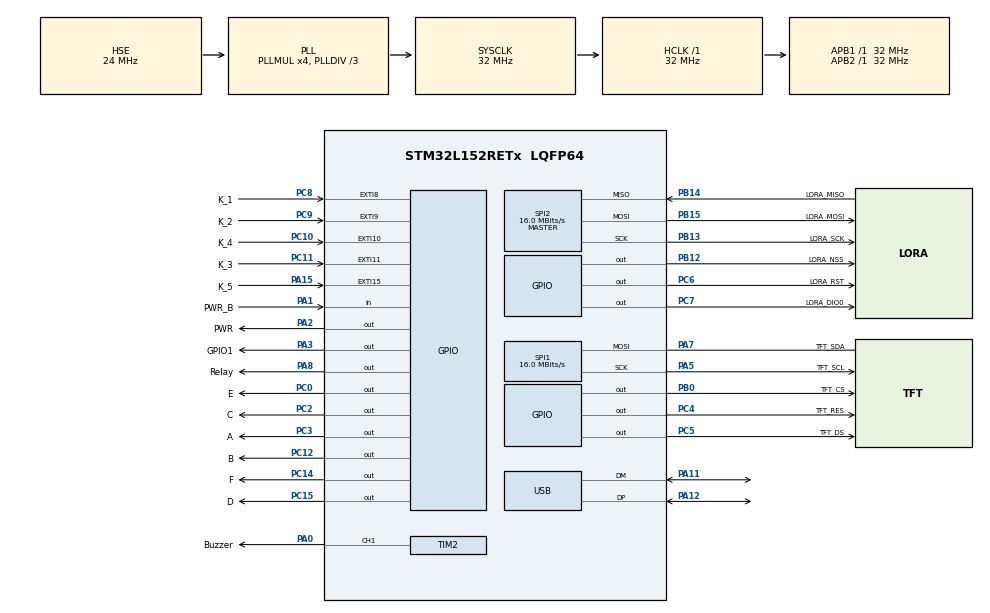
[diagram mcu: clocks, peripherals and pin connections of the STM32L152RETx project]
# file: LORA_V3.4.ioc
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Mcu.Family=STM32L1
Dma.SPI1_TX.0.MemInc=DMA_MINC_ENABLE
USB_DEVICE.CLASS_NAME_FS=HID
PH0-OSC_IN.Signal=RCC_OSC_IN
VP_SYS_VS_tim6.Mode=TIM6
Dma.SPI1_TX.0.PeriphInc=DMA_PINC_DISABLE
FREERTOS.BinarySemaphores01=KeyboardBinSem,Dynamic,NULL
PC10.GPIO_PuPd=GPIO_PULLUP
SPI1.VirtualType=VM_MASTER
SPI2.VirtualType=VM_MASTER
PC10.Signal=GPXTI10
PC12.Signal=GPIO_Output
PB14.GPIO_Label=LORA_MISO
PC0.GPIO_Label=E
PC6.GPIO_Label=LORA_RST
PA11.Mode=Device
PC0.GPIO_ModeDefaultOutputPP=GPIO_MODE_OUTPUT_OD
PB0.GPIO_Label=TFT_CS
PB13.GPIO_Label=LORA_SCK
PA3.GPIO_Speed=GPIO_SPEED_FREQ_VERY_HIGH
PB13.Signal=SPI2_SCK
PB15.Signal=SPI2_MOSI
PC15-OSC32_OUT.GPIO_Label=D
RCC.SYSCLKSource=RCC_SYSCLKSOURCE_PLLCLK
ProjectManager.StackSize=0x400
VP_FREERTOS_VS_CMSIS_V2.Mode=CMSIS_V2
PA15.GPIO_Label=K_5
PC11.GPIO_PuPd=GPIO_PULLUP
PA12.Signal=USB_DP
RCC.PLLDIV=RCC_PLL_DIV3
PB0.PinState=GPIO_PIN_SET
PA15.GPIO_ModeDefaultEXTI=GPIO_MODE_IT_FALLING
SPI1.Direction=SPI_DIRECTION_1LINE
USB_DEVICE.USBD_MAX_NUM_INTERFACES=255
RCC.HCLKFreq_Value=32000000
RCC.APB2TimFreq_Value=32000000
PC7.Signal=GPIO_Output
SPI1.CalculateBaudRate=16.0 MBits/s
PC3.Signal=GPIO_Output
PA1.GPIO_PuPd=GPIO_PULLUP
RCC.AHBFreq_Value=32000000
SPI2.BaudRatePrescaler=SPI_BAUDRATEPRESCALER_2
PH0-OSC_IN.Mode=HSE-External-Oscillator
NVIC.EXTI15_10_IRQn=true\:5\:0\:true\:false\:true\:true\:true\:true
RCC.HSE_VALUE=24000000
RCC.PLLMUL=RCC_PLL_MUL4
PB12.GPIO_Label=LORA_NSS
PC10.GPIO_ModeDefaultEXTI=GPIO_MODE_IT_FALLING
PC4.GPIO_Speed=GPIO_SPEED_FREQ_VERY_HIGH
USB_DEVICE.USBD_SELF_POWERED=0
PC4.GPIO_Label=TFT_RES
PA14.Mode=Serial_Wire
PB14.Mode=Full_Duplex_Master
PC11.GPIO_Label=K_3
NVIC.TIM2_IRQn=true\:5\:0\:false\:false\:true\:true\:true\:true
SPI2.CalculateBaudRate=16.0 MBits/s
PA8.Signal=GPIO_Output
TIM2.Channel-PWM\ Generation1\ CH1=TIM_CHANNEL_1
PH1-OSC_OUT.Mode=HSE-External-Oscillator
Dma.SPI1_TX.0.Mode=DMA_CIRCULAR
Mcu.Package=LQFP64
TIM2.Prescaler=9
NVIC.TimeBase=TIM6_IRQn
SPI2.Mode=SPI_MODE_MASTER
PA2.GPIO_Label=PWR
NVIC.TimeBaseIP=TIM6
PA15.Signal=GPXTI15
NVIC.USB_LP_IRQn=true\:5\:0\:false\:false\:true\:true\:false\:true
TIM2.TIM_MasterOutputTrigger=TIM_TRGO_RESET
PC15-OSC32_OUT.GPIO_ModeDefaultOutputPP=GPIO_MODE_OUTPUT_OD
PC2.GPIO_ModeDefaultOutputPP=GPIO_MODE_OUTPUT_OD
PC14-OSC32_IN.GPIO_ModeDefaultOutputPP=GPIO_MODE_OUTPUT_OD
RCC.APB1TimFreq_Value=32000000
PC14-OSC32_IN.GPIO_Label=F
SPI2.Direction=SPI_DIRECTION_2LINES
PC5.Signal=GPIO_Output
PB13.Mode=Full_Duplex_Master
PC12.GPIO_PuPd=GPIO_PULLUP
PC0.GPIO_PuPd=GPIO_PULLUP
Dma.Request0=SPI1_TX
SPI1.BaudRatePrescaler=SPI_BAUDRATEPRESCALER_2
PC2.GPIO_Label=C
PA8.GPIO_Speed=GPIO_SPEED_FREQ_LOW
PC9.GPIO_ModeDefaultEXTI=GPIO_MODE_IT_FALLING
PA3.Signal=GPIO_Output
PA5.Mode=Simplex_Bidirectional_Master
RCC.MSI_VALUE=2097000
FREERTOS.Tasks01=defaultTask,24,128,StartDefaultTask,Default,NULL,Dynamic,NULL,NULL;Relay,8,128,RelayTask,Default,NULL,Static,RelayBuffer,RelayControlBlock;DisplayTask,8,400,DisplayTaskFunc,Default,NULL,Static,DisplayTaskBuffer,DisplayTaskControlBlock;BeeperTask,8,128,BeeperTaskFunc,Default,NULL,Static,BeeperTaskBuffer,BeeperTaskControlBlock;KeyboardTask,24,128,KeyboardTaskFunc,Default,NULL,Static,KeyboardTaskBuffer,KeyboardTaskControlBlock
PA7.Mode=Simplex_Bidirectional_Master
PC10.GPIO_Label=K_4
PC9.GPIO_Label=K_2
USB_DEVICE.VirtualModeFS=Hid_FS
PC11.Signal=GPXTI11
PC8.Signal=GPXTI8
PC2.Signal=GPIO_Output
PC4.Signal=GPIO_Output
PC6.Signal=GPIO_Output
PC12.GPIO_ModeDefaultOutputPP=GPIO_MODE_OUTPUT_OD
PC0.Signal=GPIO_Output
PC14-OSC32_IN.Signal=GPIO_Output
TIM2.Pulse-PWM\ Generation1\ CH1=0
NVIC.TIM6_IRQn=true\:0\:0\:false\:false\:true\:false\:true\:true
PB0.GPIO_Speed=GPIO_SPEED_FREQ_VERY_HIGH
PC8.GPIO_Label=K_1
PA13.Signal=SYS_JTMS-SWDIO
PA8.GPIO_Label=Relay
ProjectManager.TargetToolchain=STM32CubeIDE
Dma.SPI1_TX.0.PeriphDataAlignment=DMA_PDATAALIGN_BYTE
Dma.SPI1_TX.0.Direction=DMA_MEMORY_TO_PERIPH
PA0-WKUP1.Signal=S_TIM2_CH1_ETR
RCC.LSE_VALUE=32768
PC15-OSC32_OUT.Signal=GPIO_Output
PA1.Signal=GPIO_Input
PB14.Signal=SPI2_MISO
PA5.Signal=SPI1_SCK
board=custom
RCC.VCOOutputFreq_Value=96000000
PB15.Mode=Full_Duplex_Master
VP_USB_DEVICE_VS_USB_DEVICE_HID_FS.Mode=HID_FS
RCC.APB2Freq_Value=32000000
PC11.GPIO_ModeDefaultEXTI=GPIO_MODE_IT_FALLING
PB15.GPIO_Label=LORA_MOSI
VP_TIM2_VS_ClockSourceINT.Mode=Internal
SPI1.Mode=SPI_MODE_MASTER
PA1.GPIO_Label=PWR_B
PC9.GPIO_PuPd=GPIO_PULLUP
PH1-OSC_OUT.Signal=RCC_OSC_OUT
Dma.SPI1_TX.0.Instance=DMA1_Channel3
PC15-OSC32_OUT.GPIO_PuPd=GPIO_PULLUP
PC2.GPIO_PuPd=GPIO_PULLUP
TIM2.Period=19
PA13.Mode=Serial_Wire
Mcu.Name=STM32L152RETx
PA2.Signal=GPIO_Output
PC7.GPIO_Label=LORA_DIO0
RCC.48MHZClocksFreq_Value=48000000
PC8.GPIO_PuPd=GPIO_PULLUP
RCC.SYSCLKFreq_VALUE=32000000
PA7.GPIO_Label=TFT_SDA
PA12.Mode=Device
PA5.GPIO_Label=TFT_SCL
PC5.GPIO_Label=TFT_DS
PC12.GPIO_Label=B
PA11.Signal=USB_DM
SH.S_TIM2_CH1_ETR.0=TIM2_CH1,PWM Generation1 CH1
NVIC.EXTI9_5_IRQn=true\:5\:0\:true\:false\:true\:false\:true\:true
PA14.Signal=SYS_JTCK-SWCLK
PA0-WKUP1.GPIO_Label=Buzzer
ProjectManager.HeapSize=0x200
Dma.SPI1_TX.0.MemDataAlignment=DMA_MDATAALIGN_BYTE
Dma.SPI1_TX.0.Priority=DMA_PRIORITY_LOW
USB_DEVICE.USBD_MAX_NUM_CONFIGURATION=255
RCC.HSI_VALUE=16000000
NVIC.PriorityGroup=NVIC_PRIORITYGROUP_4
PC5.GPIO_Speed=GPIO_SPEED_FREQ_VERY_HIGH
PC8.GPIO_ModeDefaultEXTI=GPIO_MODE_IT_FALLING
PA15.GPIO_PuPd=GPIO_PULLUP
TIM2.AutoReloadPreload=TIM_AUTORELOAD_PRELOAD_DISABLE
PC3.GPIO_Label=A
PA3.PinState=GPIO_PIN_SET
PC14-OSC32_IN.GPIO_PuPd=GPIO_PULLUP
PC9.Signal=GPXTI9
PC3.GPIO_ModeDefaultOutputPP=GPIO_MODE_OUTPUT_OD
RCC.APB1Freq_Value=32000000
PB0.Signal=GPIO_Output
USB_DEVICE.VirtualMode=Hid
USB_DEVICE.USBD_MAX_STR_DESC_SIZ=1024
PB12.Signal=GPIO_Output
PC3.GPIO_PuPd=GPIO_PULLUP
PA3.GPIO_Label=GPIO1
PA7.Signal=SPI1_MOSI

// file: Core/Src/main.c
/* USER CODE BEGIN Header */
/**
  ******************************************************************************
  * @file           : main.c
  * @brief          : Main program body
  ******************************************************************************
  * @attention
  *
  * <h2><center>&copy; Copyright (c) 2021 STMicroelectronics.
  * All rights reserved.</center></h2>
  *
  * This software component is licensed by ST under BSD 3-Clause license,
  * the "License"; You may not use this file except in compliance with the
  * License. You may obtain a copy of the License at:
  *                        opensource.org/licenses/BSD-3-Clause
  *
  ******************************************************************************
  */
/* USER CODE END Header */
#include "main.h"
#include "cmsis_os.h"
#include "usb_device.h"

/* USER CODE BEGIN Includes */
#include "testimg.h"
/* USER CODE END Includes */

typedef StaticTask_t osStaticThreadDef_t;

SPI_HandleTypeDef hspi1;
SPI_HandleTypeDef hspi2;
DMA_HandleTypeDef hdma_spi1_tx;

TIM_HandleTypeDef htim2;

/* Definitions for defaultTask */
osThreadId_t defaultTaskHandle;
const osThreadAttr_t defaultTask_attributes = {
  .name = "defaultTask",
  .stack_size = 128 * 4,
  .priority = (osPriority_t) osPriorityNormal,
};
/* Definitions for Relay */
osThreadId_t RelayHandle;
uint32_t RelayBuffer[ 128 ];
osStaticThreadDef_t RelayControlBlock;
const osThreadAttr_t Relay_attributes = {
  .name = "Relay",
  .cb_mem = &RelayControlBlock,
  .cb_size = sizeof(RelayControlBlock),
  .stack_mem = &RelayBuffer[0],
  .stack_size = sizeof(RelayBuffer),
  .priority = (osPriority_t) osPriorityLow,
};
/* Definitions for DisplayTask */
osThreadId_t DisplayTaskHandle;
uint32_t DisplayTaskBuffer[ 400 ];
osStaticThreadDef_t DisplayTaskControlBlock;
const osThreadAttr_t DisplayTask_attributes = {
  .name = "DisplayTask",
  .cb_mem = &DisplayTaskControlBlock,
  .cb_size = sizeof(DisplayTaskControlBlock),
  .stack_mem = &DisplayTaskBuffer[0],
  .stack_size = sizeof(DisplayTaskBuffer),
  .priority = (osPriority_t) osPriorityLow,
};
/* Definitions for BeeperTask */
osThreadId_t BeeperTaskHandle;
uint32_t BeeperTaskBuffer[ 128 ];
osStaticThreadDef_t BeeperTaskControlBlock;
const osThreadAttr_t BeeperTask_attributes = {
  .name = "BeeperTask",
  .cb_mem = &BeeperTaskControlBlock,
  .cb_size = sizeof(BeeperTaskControlBlock),
  .stack_mem = &BeeperTaskBuffer[0],
  .stack_size = sizeof(BeeperTaskBuffer),
  .priority = (osPriority_t) osPriorityLow,
};
/* Definitions for KeyboardTask */
osThreadId_t KeyboardTaskHandle;
uint32_t KeyboardTaskBuffer[ 128 ];
osStaticThreadDef_t KeyboardTaskControlBlock;
const osThreadAttr_t KeyboardTask_attributes = {
  .name = "KeyboardTask",
  .cb_mem = &KeyboardTaskControlBlock,
  .cb_size = sizeof(KeyboardTaskControlBlock),
  .stack_mem = &KeyboardTaskBuffer[0],
  .stack_size = sizeof(KeyboardTaskBuffer),
  .priority = (osPriority_t) osPriorityNormal,
};
/* Definitions for KeyboardBinSem */
osSemaphoreId_t KeyboardBinSemHandle;
const osSemaphoreAttr_t KeyboardBinSem_attributes = {
  .name = "KeyboardBinSem"
};
/* USER CODE BEGIN PV */
osMessageQueueId_t BEEPER_MsgQueue;
osMessageQueueId_t TEXT_MsgQueue;
#define TEXT_QUEUE_LENGTH 50
/* USER CODE END PV */

void SystemClock_Config(void);
static void MX_GPIO_Init(void);
static void MX_DMA_Init(void);
static void MX_SPI1_Init(void);
static void MX_SPI2_Init(void);
static void MX_TIM2_Init(void);
void StartDefaultTask(void *argument);
void RelayTask(void *argument);
void DisplayTaskFunc(void *argument);
void BeeperTaskFunc(void *argument);
void KeyboardTaskFunc(void *argument);

int main(void)
{

  /* MCU Configuration--------------------------------------------------------*/

  /* Reset of all peripherals, Initializes the Flash interface and the Systick. */
  HAL_Init();

  /* Configure the system clock */
  SystemClock_Config();

  /* Initialize all configured peripherals */
  MX_GPIO_Init();
  MX_DMA_Init();
  MX_SPI1_Init();
  MX_SPI2_Init();
  MX_TIM2_Init();
  /* USER CODE BEGIN 2 */
  HAL_GPIO_WritePin(PWR_GPIO_Port, PWR_Pin, GPIO_PIN_SET);
  ST7735_Init();
  ST7735_Start(0, 0, ST7735_WIDTH - 1, ST7735_HEIGHT - 1);
  ST7735_FillScreen(ST7735_YELLOW);

  //ST7735_InvertColors(1);
  //ST7735_DrawImage(0, 0, ST7735_WIDTH, ST7735_HEIGHT, test_img_160x128_radio);
  /* USER CODE END 2 */

  /* Init scheduler */
  osKernelInitialize();

  /* Create the semaphores(s) */
  /* creation of KeyboardBinSem */
  KeyboardBinSemHandle = osSemaphoreNew(1, 1, &KeyboardBinSem_attributes);

  /* USER CODE BEGIN RTOS_QUEUES */
  /* add queues, ... */
  BEEPER_MsgQueue = osMessageQueueNew(BUZZER_QUEUE_LEN, sizeof(BEPPER_Parameters_t), NULL);
  TEXT_MsgQueue = osMessageQueueNew(TEXT_QUEUE_LENGTH, sizeof(char), NULL);
  /* USER CODE END RTOS_QUEUES */

  /* Create the thread(s) */
  /* creation of defaultTask */
  defaultTaskHandle = osThreadNew(StartDefaultTask, NULL, &defaultTask_attributes);

  /* creation of Relay */
  RelayHandle = osThreadNew(RelayTask, NULL, &Relay_attributes);

  /* creation of DisplayTask */
  DisplayTaskHandle = osThreadNew(DisplayTaskFunc, NULL, &DisplayTask_attributes);

  /* creation of BeeperTask */
  BeeperTaskHandle = osThreadNew(BeeperTaskFunc, NULL, &BeeperTask_attributes);

  /* creation of KeyboardTask */
  KeyboardTaskHandle = osThreadNew(KeyboardTaskFunc, NULL, &KeyboardTask_attributes);

  /* Start scheduler */
  osKernelStart();

  /* We should never get here as control is now taken by the scheduler */
  /* Infinite loop */
  while (1)
  {

  }
}

void SystemClock_Config(void)
{
  RCC_OscInitTypeDef RCC_OscInitStruct = {0};
  RCC_ClkInitTypeDef RCC_ClkInitStruct = {0};

  /** Configure the main internal regulator output voltage
  */
  __HAL_PWR_VOLTAGESCALING_CONFIG(PWR_REGULATOR_VOLTAGE_SCALE1);
  /** Initializes the RCC Oscillators according to the specified parameters
  * in the RCC_OscInitTypeDef structure.
  */
  RCC_OscInitStruct.OscillatorType = RCC_OSCILLATORTYPE_HSE;
  RCC_OscInitStruct.HSEState = RCC_HSE_ON;
  RCC_OscInitStruct.PLL.PLLState = RCC_PLL_ON;
  RCC_OscInitStruct.PLL.PLLSource = RCC_PLLSOURCE_HSE;
  RCC_OscInitStruct.PLL.PLLMUL = RCC_PLL_MUL4;
  RCC_OscInitStruct.PLL.PLLDIV = RCC_PLL_DIV3;
  if (HAL_RCC_OscConfig(&RCC_OscInitStruct) != HAL_OK)
  {
    Error_Handler();
  }
  /** Initializes the CPU, AHB and APB buses clocks
  */
  RCC_ClkInitStruct.ClockType = RCC_CLOCKTYPE_HCLK|RCC_CLOCKTYPE_SYSCLK
                              |RCC_CLOCKTYPE_PCLK1|RCC_CLOCKTYPE_PCLK2;
  RCC_ClkInitStruct.SYSCLKSource = RCC_SYSCLKSOURCE_PLLCLK;
  RCC_ClkInitStruct.AHBCLKDivider = RCC_SYSCLK_DIV1;
  RCC_ClkInitStruct.APB1CLKDivider = RCC_HCLK_DIV1;
  RCC_ClkInitStruct.APB2CLKDivider = RCC_HCLK_DIV1;

  if (HAL_RCC_ClockConfig(&RCC_ClkInitStruct, FLASH_LATENCY_1) != HAL_OK)
  {
    Error_Handler();
  }
}

static void MX_SPI1_Init(void)
{

  /* SPI1 parameter configuration*/
  hspi1.Instance = SPI1;
  hspi1.Init.Mode = SPI_MODE_MASTER;
  hspi1.Init.Direction = SPI_DIRECTION_1LINE;
  hspi1.Init.DataSize = SPI_DATASIZE_8BIT;
  hspi1.Init.CLKPolarity = SPI_POLARITY_LOW;
  hspi1.Init.CLKPhase = SPI_PHASE_1EDGE;
  hspi1.Init.NSS = SPI_NSS_SOFT;
  hspi1.Init.BaudRatePrescaler = SPI_BAUDRATEPRESCALER_2;
  hspi1.Init.FirstBit = SPI_FIRSTBIT_MSB;
  hspi1.Init.TIMode = SPI_TIMODE_DISABLE;
  hspi1.Init.CRCCalculation = SPI_CRCCALCULATION_DISABLE;
  hspi1.Init.CRCPolynomial = 10;
  if (HAL_SPI_Init(&hspi1) != HAL_OK)
  {
    Error_Handler();
  }
  /* USER CODE BEGIN SPI1_Init 2 */
  //SPI1->CR2 |= 1<<SPI_CR2_TXDMAEN_Pos;
  /* USER CODE END SPI1_Init 2 */

}

static void MX_SPI2_Init(void)
{

  /* SPI2 parameter configuration*/
  hspi2.Instance = SPI2;
  hspi2.Init.Mode = SPI_MODE_MASTER;
  hspi2.Init.Direction = SPI_DIRECTION_2LINES;
  hspi2.Init.DataSize = SPI_DATASIZE_8BIT;
  hspi2.Init.CLKPolarity = SPI_POLARITY_LOW;
  hspi2.Init.CLKPhase = SPI_PHASE_1EDGE;
  hspi2.Init.NSS = SPI_NSS_SOFT;
  hspi2.Init.BaudRatePrescaler = SPI_BAUDRATEPRESCALER_2;
  hspi2.Init.FirstBit = SPI_FIRSTBIT_MSB;
  hspi2.Init.TIMode = SPI_TIMODE_DISABLE;
  hspi2.Init.CRCCalculation = SPI_CRCCALCULATION_DISABLE;
  hspi2.Init.CRCPolynomial = 10;
  if (HAL_SPI_Init(&hspi2) != HAL_OK)
  {
    Error_Handler();
  }

}

static void MX_TIM2_Init(void)
{

  TIM_ClockConfigTypeDef sClockSourceConfig = {0};
  TIM_MasterConfigTypeDef sMasterConfig = {0};
  TIM_OC_InitTypeDef sConfigOC = {0};

  htim2.Instance = TIM2;
  htim2.Init.Prescaler = 9;
  htim2.Init.CounterMode = TIM_COUNTERMODE_UP;
  htim2.Init.Period = 19;
  htim2.Init.ClockDivision = TIM_CLOCKDIVISION_DIV1;
  htim2.Init.AutoReloadPreload = TIM_AUTORELOAD_PRELOAD_DISABLE;
  if (HAL_TIM_Base_Init(&htim2) != HAL_OK)
  {
    Error_Handler();
  }
  sClockSourceConfig.ClockSource = TIM_CLOCKSOURCE_INTERNAL;
  if (HAL_TIM_ConfigClockSource(&htim2, &sClockSourceConfig) != HAL_OK)
  {
    Error_Handler();
  }
  if (HAL_TIM_PWM_Init(&htim2) != HAL_OK)
  {
    Error_Handler();
  }
  sMasterConfig.MasterOutputTrigger = TIM_TRGO_RESET;
  sMasterConfig.MasterSlaveMode = TIM_MASTERSLAVEMODE_DISABLE;
  if (HAL_TIMEx_MasterConfigSynchronization(&htim2, &sMasterConfig) != HAL_OK)
  {
    Error_Handler();
  }
  sConfigOC.OCMode = TIM_OCMODE_PWM1;
  sConfigOC.Pulse = 0;
  sConfigOC.OCPolarity = TIM_OCPOLARITY_HIGH;
  sConfigOC.OCFastMode = TIM_OCFAST_DISABLE;
  if (HAL_TIM_PWM_ConfigChannel(&htim2, &sConfigOC, TIM_CHANNEL_1) != HAL_OK)
  {
    Error_Handler();
  }
  HAL_TIM_MspPostInit(&htim2);

}

static void MX_DMA_Init(void)
{

  /* DMA controller clock enable */
  __HAL_RCC_DMA1_CLK_ENABLE();

}

static void MX_GPIO_Init(void)
{
  GPIO_InitTypeDef GPIO_InitStruct = {0};

  /* GPIO Ports Clock Enable */
  __HAL_RCC_GPIOC_CLK_ENABLE();
  __HAL_RCC_GPIOH_CLK_ENABLE();
  __HAL_RCC_GPIOA_CLK_ENABLE();
  __HAL_RCC_GPIOB_CLK_ENABLE();

  /*Configure GPIO pin Output Level */
  HAL_GPIO_WritePin(GPIOC, F_Pin|D_Pin|E_Pin|C_Pin
                          |A_Pin|TFT_RES_Pin|TFT_DS_Pin|LORA_RST_Pin
                          |LORA_DIO0_Pin|B_Pin, GPIO_PIN_RESET);

  /*Configure GPIO pin Output Level */
  HAL_GPIO_WritePin(GPIOA, PWR_Pin|Relay_Pin, GPIO_PIN_RESET);

  /*Configure GPIO pin Output Level */
  HAL_GPIO_WritePin(GPIO1_GPIO_Port, GPIO1_Pin, GPIO_PIN_SET);

  /*Configure GPIO pin Output Level */
  HAL_GPIO_WritePin(TFT_CS_GPIO_Port, TFT_CS_Pin, GPIO_PIN_SET);

  /*Configure GPIO pin Output Level */
  HAL_GPIO_WritePin(LORA_NSS_GPIO_Port, LORA_NSS_Pin, GPIO_PIN_RESET);

  /*Configure GPIO pins : F_Pin D_Pin E_Pin C_Pin
                           A_Pin B_Pin */
  GPIO_InitStruct.Pin = F_Pin|D_Pin|E_Pin|C_Pin
                          |A_Pin|B_Pin;
  GPIO_InitStruct.Mode = GPIO_MODE_OUTPUT_OD;
  GPIO_InitStruct.Pull = GPIO_PULLUP;
  GPIO_InitStruct.Speed = GPIO_SPEED_FREQ_LOW;
  HAL_GPIO_Init(GPIOC, &GPIO_InitStruct);

  /*Configure GPIO pin : PWR_B_Pin */
  GPIO_InitStruct.Pin = PWR_B_Pin;
  GPIO_InitStruct.Mode = GPIO_MODE_INPUT;
  GPIO_InitStruct.Pull = GPIO_PULLUP;
  HAL_GPIO_Init(PWR_B_GPIO_Port, &GPIO_InitStruct);

  /*Configure GPIO pins : PWR_Pin Relay_Pin */
  GPIO_InitStruct.Pin = PWR_Pin|Relay_Pin;
  GPIO_InitStruct.Mode = GPIO_MODE_OUTPUT_PP;
  GPIO_InitStruct.Pull = GPIO_NOPULL;
  GPIO_InitStruct.Speed = GPIO_SPEED_FREQ_LOW;
  HAL_GPIO_Init(GPIOA, &GPIO_InitStruct);

  /*Configure GPIO pin : GPIO1_Pin */
  GPIO_InitStruct.Pin = GPIO1_Pin;
  GPIO_InitStruct.Mode = GPIO_MODE_OUTPUT_PP;
  GPIO_InitStruct.Pull = GPIO_NOPULL;
  GPIO_InitStruct.Speed = GPIO_SPEED_FREQ_VERY_HIGH;
  HAL_GPIO_Init(GPIO1_GPIO_Port, &GPIO_InitStruct);

  /*Configure GPIO pins : TFT_RES_Pin TFT_DS_Pin */
  GPIO_InitStruct.Pin = TFT_RES_Pin|TFT_DS_Pin;
  GPIO_InitStruct.Mode = GPIO_MODE_OUTPUT_PP;
  GPIO_InitStruct.Pull = GPIO_NOPULL;
  GPIO_InitStruct.Speed = GPIO_SPEED_FREQ_VERY_HIGH;
  HAL_GPIO_Init(GPIOC, &GPIO_InitStruct);

  /*Configure GPIO pin : TFT_CS_Pin */
  GPIO_InitStruct.Pin = TFT_CS_Pin;
  GPIO_InitStruct.Mode = GPIO_MODE_OUTPUT_PP;
  GPIO_InitStruct.Pull = GPIO_NOPULL;
  GPIO_InitStruct.Speed = GPIO_SPEED_FREQ_VERY_HIGH;
  HAL_GPIO_Init(TFT_CS_GPIO_Port, &GPIO_InitStruct);

  /*Configure GPIO pin : LORA_NSS_Pin */
  GPIO_InitStruct.Pin = LORA_NSS_Pin;
  GPIO_InitStruct.Mode = GPIO_MODE_OUTPUT_PP;
  GPIO_InitStruct.Pull = GPIO_NOPULL;
  GPIO_InitStruct.Speed = GPIO_SPEED_FREQ_LOW;
  HAL_GPIO_Init(LORA_NSS_GPIO_Port, &GPIO_InitStruct);

  /*Configure GPIO pins : LORA_RST_Pin LORA_DIO0_Pin */
  GPIO_InitStruct.Pin = LORA_RST_Pin|LORA_DIO0_Pin;
  GPIO_InitStruct.Mode = GPIO_MODE_OUTPUT_PP;
  GPIO_InitStruct.Pull = GPIO_NOPULL;
  GPIO_InitStruct.Speed = GPIO_SPEED_FREQ_LOW;
  HAL_GPIO_Init(GPIOC, &GPIO_InitStruct);

  /*Configure GPIO pins : K_1_Pin K_2_Pin K_4_Pin K_3_Pin */
  GPIO_InitStruct.Pin = K_1_Pin|K_2_Pin|K_4_Pin|K_3_Pin;
  GPIO_InitStruct.Mode = GPIO_MODE_IT_FALLING;
  GPIO_InitStruct.Pull = GPIO_PULLUP;
  HAL_GPIO_Init(GPIOC, &GPIO_InitStruct);

  /*Configure GPIO pin : K_5_Pin */
  GPIO_InitStruct.Pin = K_5_Pin;
  GPIO_InitStruct.Mode = GPIO_MODE_IT_FALLING;
  GPIO_InitStruct.Pull = GPIO_PULLUP;
  HAL_GPIO_Init(K_5_GPIO_Port, &GPIO_InitStruct);

  /* EXTI interrupt init*/

}

/* USER CODE BEGIN 4 */
void HAL_GPIO_EXTI_Callback(uint16_t GPIO_Pin) {
	osSemaphoreRelease(KeyboardBinSemHandle);
    HAL_NVIC_DisableIRQ(EXTI9_5_IRQn);
    HAL_NVIC_DisableIRQ(EXTI15_10_IRQn);
    //__HAL_GPIO_EXTI_CLEAR_IT(GPIO_Pin);
}
/* USER CODE END 4 */

void StartDefaultTask(void *argument)
{
  /* init code for USB_DEVICE */
  MX_USB_DEVICE_Init();
  /* USER CODE BEGIN 5 */
  BEPPER_Parameters_t msg;

  //keyboard_INIT();
  HAL_NVIC_SetPriority(EXTI9_5_IRQn, 5, 0);
  HAL_NVIC_EnableIRQ(EXTI9_5_IRQn);

  HAL_NVIC_SetPriority(EXTI15_10_IRQn, 5, 0);
  HAL_NVIC_EnableIRQ(EXTI15_10_IRQn);
  ST7735_FillScreen(ST7735_YELLOW);

  BEEPER_Enable();
  /* Infinite loop */
  for(;;)
  {

	osDelay(100);
  }
  /* USER CODE END 5 */
}

void RelayTask(void *argument)
{
  /* USER CODE BEGIN RelayTask */
  /* Infinite loop */
  for(;;)
  {
	//HAL_GPIO_TogglePin(Relay_GPIO_Port, Relay_Pin);
    osDelay(500);
  }
  /* USER CODE END RelayTask */
}

void DisplayTaskFunc(void *argument)
{
  /* USER CODE BEGIN DisplayTaskFunc */
	char buf[100];
	char msg;
	static uint32_t buf_end = 0;
	osStatus_t status;
  /* Infinite loop */
  for(;;)
  {
	status = osMessageQueueGet(TEXT_MsgQueue, &msg, NULL, portMAX_DELAY);
	  if (status == osOK) {
		if (buf_end == 20) {
			buf_end = 0;
			for (size_t i = 0; i < 100; i++) buf[i] = 0;
		}
		if (msg == 0xFF) {
			buf[buf_end - 1] = 0;
			if (buf_end)
				buf_end--;
		}
		else {
			buf[buf_end] = msg;
			buf_end++;
		}
		ST7735_FillScreen(ST7735_YELLOW);
		ST7735_WriteString(0, 0, buf, Font_11x18, ST7735_BLACK, ST7735_WHITE);
	  }
  }
  /* USER CODE END DisplayTaskFunc */
}

void BeeperTaskFunc(void *argument)
{
  /* USER CODE BEGIN BeeperTaskFunc */
	BEPPER_Parameters_t msg;
	osStatus_t status;
  /* Infinite loop */
  for(;;)
  {
    status = osMessageQueueGet(BEEPER_MsgQueue, &msg, NULL, portMAX_DELAY);
    if (status == osOK) {
    	BEEPER_SetFreq(msg.freq);
    	BEEPER_SetVolume(msg.volume);
		osDelay(msg.duration);
		BEEPER_SetVolume(BUZZER_VOLUME_MUTE);
    }
  }
  /* USER CODE END BeeperTaskFunc */
}

void KeyboardTaskFunc(void *argument)
{
  /* USER CODE BEGIN KeyboardTaskFunc */
  BEPPER_Parameters_t msg;
  char msg_text;
  static _Bool isShifted = 1;

  /* Infinite loop */
  for(;;)
  {
    osSemaphoreAcquire(KeyboardBinSemHandle, portMAX_DELAY);
    osDelay(30);
    msg_text = 0;
    //A
	HAL_GPIO_WritePin(A_GPIO_Port, A_Pin, GPIO_PIN_RESET);
	HAL_GPIO_WritePin(B_GPIO_Port, B_Pin, GPIO_PIN_SET);
	HAL_GPIO_WritePin(C_GPIO_Port, C_Pin, GPIO_PIN_SET);
	HAL_GPIO_WritePin(D_GPIO_Port, D_Pin, GPIO_PIN_SET);
	HAL_GPIO_WritePin(E_GPIO_Port, E_Pin, GPIO_PIN_SET);
	HAL_GPIO_WritePin(F_GPIO_Port, F_Pin, GPIO_PIN_SET);
	if (!HAL_GPIO_ReadPin(K_1_GPIO_Port, K_1_Pin)) {
		if (isShifted)
			msg_text = 'Q';
		else
			msg_text = '1';
	}
	if (!HAL_GPIO_ReadPin(K_2_GPIO_Port, K_2_Pin)){
		if (isShifted)
			msg_text = 'W';
		else
			msg_text = '2';

	}
	if (!HAL_GPIO_ReadPin(K_3_GPIO_Port, K_3_Pin)){
		if (isShifted)
			msg_text = 'E';
		else
			msg_text = '3';

	}
	if (!HAL_GPIO_ReadPin(K_4_GPIO_Port, K_4_Pin)){
		if (isShifted)
			msg_text = 'R';
		else
			msg_text = '4';

	}
	if (!HAL_GPIO_ReadPin(K_5_GPIO_Port, K_5_Pin)){
		if (isShifted)
			msg_text = 'T';
		else
			msg_text = '5';

	}

	//B
	HAL_GPIO_WritePin(A_GPIO_Port, A_Pin, GPIO_PIN_SET);
	HAL_GPIO_WritePin(B_GPIO_Port, B_Pin, GPIO_PIN_RESET);
	HAL_GPIO_WritePin(C_GPIO_Port, C_Pin, GPIO_PIN_SET);
	HAL_GPIO_WritePin(D_GPIO_Port, D_Pin, GPIO_PIN_SET);
	HAL_GPIO_WritePin(E_GPIO_Port, E_Pin, GPIO_PIN_SET);
	HAL_GPIO_WritePin(F_GPIO_Port, F_Pin, GPIO_PIN_SET);
	if (!HAL_GPIO_ReadPin(K_1_GPIO_Port, K_1_Pin)) {
		if (isShifted)
			msg_text = 'Y';
		else
			msg_text = '6';
	}
	if (!HAL_GPIO_ReadPin(K_2_GPIO_Port, K_2_Pin)){
		if (isShifted)
			msg_text = 'U';
		else
			msg_text = '7';
	}
	if (!HAL_GPIO_ReadPin(K_3_GPIO_Port, K_3_Pin)){
		if (isShifted)
			msg_text = 'I';
		else
			msg_text = '8';
	}
	if (!HAL_GPIO_ReadPin(K_4_GPIO_Port, K_4_Pin)){
		if (isShifted)
			msg_text = 'O';
		else
			msg_text = '9';
	}
	if (!HAL_GPIO_ReadPin(K_5_GPIO_Port, K_5_Pin)){
		if (isShifted)
			msg_text = 'P';
		else
			msg_text = '0';
	}

	//C
	HAL_GPIO_WritePin(A_GPIO_Port, A_Pin, GPIO_PIN_SET);
	HAL_GPIO_WritePin(B_GPIO_Port, B_Pin, GPIO_PIN_SET);
	HAL_GPIO_WritePin(C_GPIO_Port, C_Pin, GPIO_PIN_RESET);
	HAL_GPIO_WritePin(D_GPIO_Port, D_Pin, GPIO_PIN_SET);
	HAL_GPIO_WritePin(E_GPIO_Port, E_Pin, GPIO_PIN_SET);
	HAL_GPIO_WritePin(F_GPIO_Port, F_Pin, GPIO_PIN_SET);
	if (!HAL_GPIO_ReadPin(K_1_GPIO_Port, K_1_Pin)) {
		if (isShifted)
			msg_text = 'A';
		else
			msg_text = '!';
	}
	if (!HAL_GPIO_ReadPin(K_2_GPIO_Port, K_2_Pin)){
		if (isShifted)
			msg_text = 'S';
		else
			msg_text = '"';
	}
	if (!HAL_GPIO_ReadPin(K_3_GPIO_Port, K_3_Pin)){
		if (isShifted)
			msg_text = 'D';
		else
			msg_text = 'n';
	}
	else if (!HAL_GPIO_ReadPin(K_4_GPIO_Port, K_4_Pin)){
		if (isShifted)
			msg_text = 'F';
		else
			msg_text = ';';
	}
	else if (!HAL_GPIO_ReadPin(K_5_GPIO_Port, K_5_Pin)){
		if (isShifted)
			msg_text = 'G';
		else
			msg_text = '%';
	}

	//D
	HAL_GPIO_WritePin(A_GPIO_Port, A_Pin, GPIO_PIN_SET);
	HAL_GPIO_WritePin(B_GPIO_Port, B_Pin, GPIO_PIN_SET);
	HAL_GPIO_WritePin(C_GPIO_Port, C_Pin, GPIO_PIN_SET);
	HAL_GPIO_WritePin(D_GPIO_Port, D_Pin, GPIO_PIN_RESET);
	HAL_GPIO_WritePin(E_GPIO_Port, E_Pin, GPIO_PIN_SET);
	HAL_GPIO_WritePin(F_GPIO_Port, F_Pin, GPIO_PIN_SET);
	if (!HAL_GPIO_ReadPin(K_1_GPIO_Port, K_1_Pin)) {
		if (isShifted)
			msg_text = 'H';
		else
			msg_text = ':';

	}
	else if (!HAL_GPIO_ReadPin(K_2_GPIO_Port, K_2_Pin)){
		if (isShifted)
			msg_text = 'J';
		else
			msg_text = '?';

	}
	else if (!HAL_GPIO_ReadPin(K_3_GPIO_Port, K_3_Pin)){
		if (isShifted)
			msg_text = 'K';
		else
			msg_text = '*';

	}
	else if (!HAL_GPIO_ReadPin(K_4_GPIO_Port, K_4_Pin)){
		if (isShifted)
			msg_text = 'L';
		else
			msg_text = '(';

	}
	else if (!HAL_GPIO_ReadPin(K_5_GPIO_Port, K_5_Pin)){
		if (isShifted)
			msg_text = 'Z';
		else
			msg_text = ')';

	}

	//E
	HAL_GPIO_WritePin(A_GPIO_Port, A_Pin, GPIO_PIN_SET);
	HAL_GPIO_WritePin(B_GPIO_Port, B_Pin, GPIO_PIN_SET);
	HAL_GPIO_WritePin(C_GPIO_Port, C_Pin, GPIO_PIN_SET);
	HAL_GPIO_WritePin(D_GPIO_Port, D_Pin, GPIO_PIN_SET);
	HAL_GPIO_WritePin(E_GPIO_Port, E_Pin, GPIO_PIN_RESET);
	HAL_GPIO_WritePin(F_GPIO_Port, F_Pin, GPIO_PIN_SET);
	if (!HAL_GPIO_ReadPin(K_1_GPIO_Port, K_1_Pin)) {
		if (isShifted)
			msg_text = 'X';
		else
			msg_text = '-';
	}
	else if (!HAL_GPIO_ReadPin(K_2_GPIO_Port, K_2_Pin)){
		if (isShifted)
			msg_text = 'C';
		else
			msg_text = '+';
	}
	else if (!HAL_GPIO_ReadPin(K_3_GPIO_Port, K_3_Pin)){
		if (isShifted)
			msg_text = 'V';
		else
			msg_text = '=';
	}
	else if (!HAL_GPIO_ReadPin(K_4_GPIO_Port, K_4_Pin)){
		if (isShifted)
			msg_text = 'B';
		else
			msg_text = '/';
}
	else if (!HAL_GPIO_ReadPin(K_5_GPIO_Port, K_5_Pin)){
		if (isShifted)
			msg_text = 'N';
		else
			msg_text = ',';
	}

	//F
	HAL_GPIO_WritePin(A_GPIO_Port, A_Pin, GPIO_PIN_SET);
	HAL_GPIO_WritePin(B_GPIO_Port, B_Pin, GPIO_PIN_SET);
	HAL_GPIO_WritePin(C_GPIO_Port, C_Pin, GPIO_PIN_SET);
	HAL_GPIO_WritePin(D_GPIO_Port, D_Pin, GPIO_PIN_SET);
	HAL_GPIO_WritePin(E_GPIO_Port, E_Pin, GPIO_PIN_SET);
	HAL_GPIO_WritePin(F_GPIO_Port, F_Pin, GPIO_PIN_RESET);
	if (!HAL_GPIO_ReadPin(K_1_GPIO_Port, K_1_Pin)) {
		if (isShifted)
			msg_text = 'M';
		else
			msg_text = '.';
	}
	else if (!HAL_GPIO_ReadPin(K_2_GPIO_Port, K_2_Pin)){
		msg_text = ' ';
	}
	else if (!HAL_GPIO_ReadPin(K_3_GPIO_Port, K_3_Pin)){

	}
	else if (!HAL_GPIO_ReadPin(K_4_GPIO_Port, K_4_Pin)){
		isShifted = !isShifted;
	}
	else if (!HAL_GPIO_ReadPin(K_5_GPIO_Port, K_5_Pin)){
		msg_text = 0xFF;
	}

	HAL_GPIO_WritePin(A_GPIO_Port, A_Pin, GPIO_PIN_RESET);
	HAL_GPIO_WritePin(B_GPIO_Port, B_Pin, GPIO_PIN_RESET);
	HAL_GPIO_WritePin(C_GPIO_Port, C_Pin, GPIO_PIN_RESET);
	HAL_GPIO_WritePin(D_GPIO_Port, D_Pin, GPIO_PIN_RESET);
	HAL_GPIO_WritePin(E_GPIO_Port, E_Pin, GPIO_PIN_RESET);
	HAL_GPIO_WritePin(F_GPIO_Port, F_Pin, GPIO_PIN_RESET);

	if (msg_text)
		osMessageQueuePut(TEXT_MsgQueue, &msg_text, 0U, 0U);

	osDelay(60);
    HAL_NVIC_EnableIRQ(EXTI9_5_IRQn);
    HAL_NVIC_EnableIRQ(EXTI15_10_IRQn);
  }
  /* USER CODE END KeyboardTaskFunc */
}

 /**
  * @brief  Period elapsed callback in non blocking mode
  * @note   This function is called  when TIM6 interrupt took place, inside
  * HAL_TIM_IRQHandler(). It makes a direct call to HAL_IncTick() to increment
  * a global variable "uwTick" used as application time base.
  * @param  htim : TIM handle
  * @retval None
  */
void HAL_TIM_PeriodElapsedCallback(TIM_HandleTypeDef *htim)
{
  if (htim->Instance == TIM6) {
    HAL_IncTick();
  }
}

void Error_Handler(void)
{
  __disable_irq();
  while (1)
  {
  }
}

/************************ (C) COPYRIGHT STMicroelectronics *****END OF FILE****/
